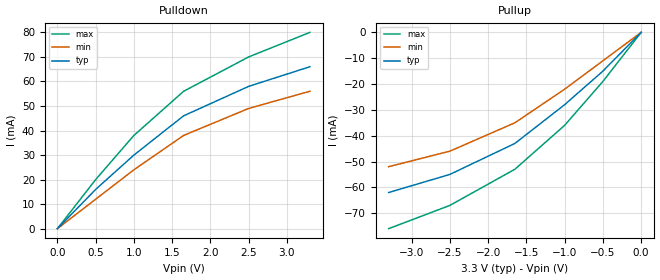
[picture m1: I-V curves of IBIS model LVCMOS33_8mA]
| Illustrative IBIS model for a 3.3 V LVCMOS FPGA output buffer.
| Hand-written for the fpgaforge physics demo -- representative, not a vendor
| datasheet part. Currents/parasitics are typical order-of-magnitude values.
[IBIS Ver]   4.2
[File Name]   ice40_lvcmos33.ibs
[File Rev]   0.1
[Component]   ICE40_UP5K
[Manufacturer]   fpgaforge-demo
[Package]
| variable   typ   min   max
R_pkg   0.20   0.15   0.30
L_pkg   3.5nH   3.0nH   4.5nH
C_pkg   0.6pF   0.5pF   0.8pF
| Models and submodels in the file (1): LVCMOS33_8mA (I/O)
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[Model]   LVCMOS33_8mA
Model_type   I/O
Vinl   0.8
Vinh   2.0
C_comp   4.0pF   3.0pF   5.0pF
[Voltage Range]  3.3   3.0   3.6
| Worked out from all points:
|   slope of the pulldown table from 0 to 0.495 V, typ, clamps not added: 31.2 ohm
[Pulldown]
|  Voltage   I(typ)   I(min)   I(max)
0V        0A         0A         0A
500mV     16mA       12mA       20mA
1V        30mA       24mA       38mA
1.65V     46mA       38mA       56mA
2.5V      58mA       49mA       70mA
3.3V      66mA       56mA       80mA
[Pullup]
|  Voltage   I(typ)   I(min)   I(max)
-3.3V     -62mA      -52mA      -76mA
-2.5V     -55mA      -46mA      -67mA
-1.65V    -43mA      -35mA      -53mA
-1V       -28mA      -22mA      -36mA
-500mV    -15mA      -11mA      -19mA
0V        0A         0A         0A
[Ramp]
| variable   typ   min   max
dV/dt_r   1.98/1.20n   1.60/1.50n   2.30/0.95n
dV/dt_f   1.98/1.10n   1.60/1.40n   2.30/0.90n
R_load   50
